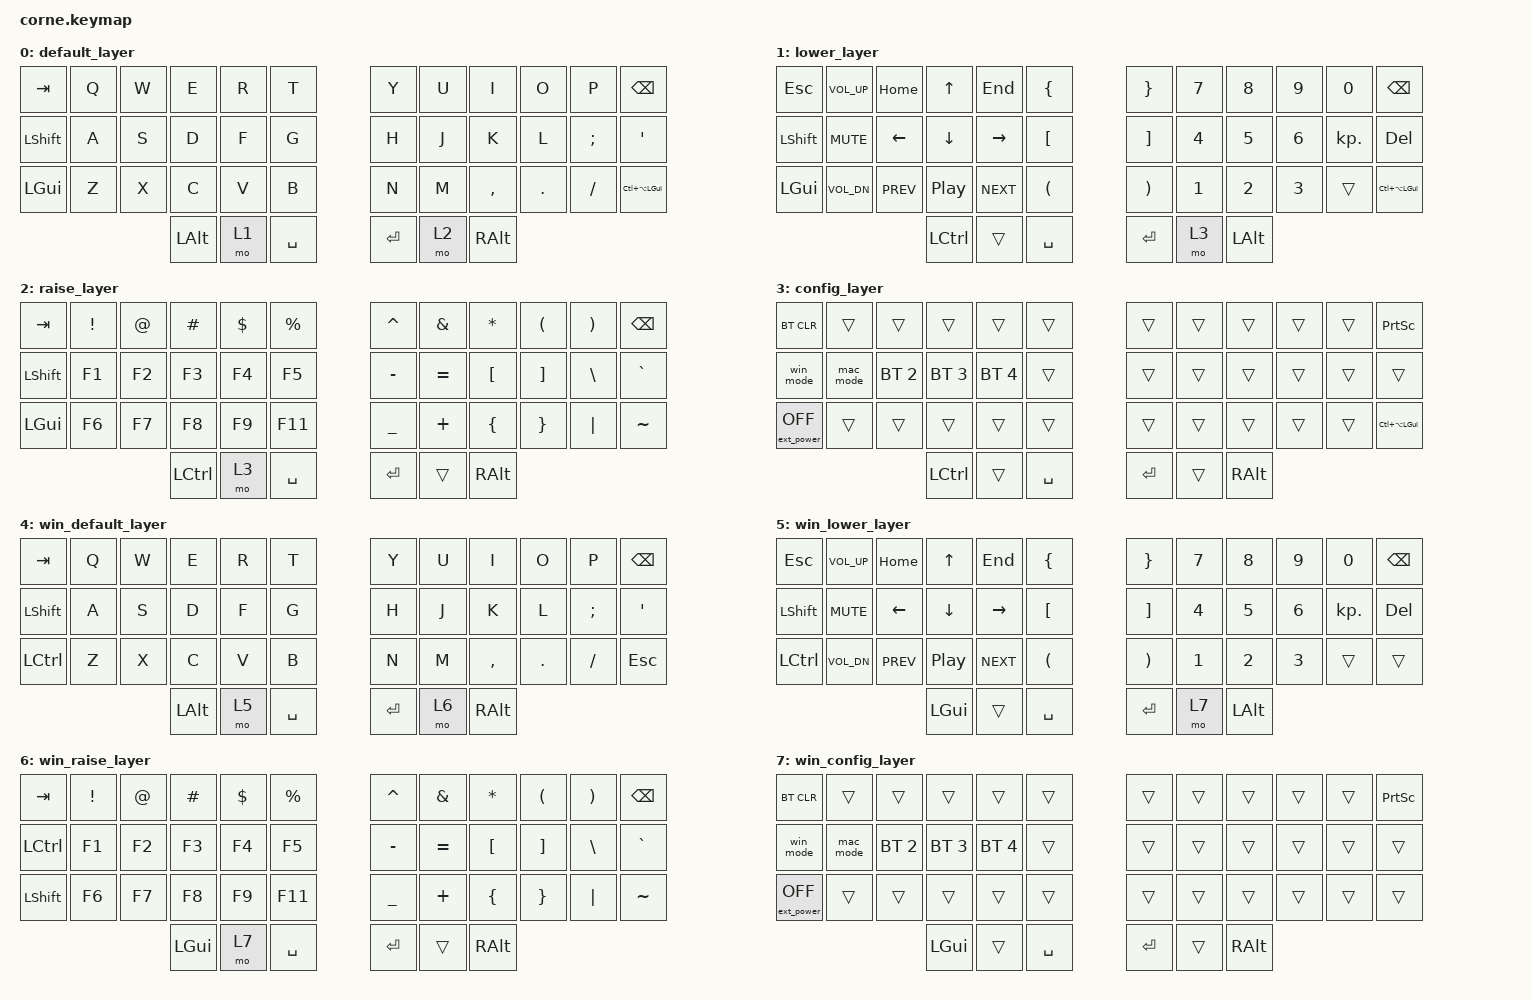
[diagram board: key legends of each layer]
/*
 * Copyright (c) 2020 The ZMK Contributors
 *
 * SPDX-License-Identifier: MIT
 */

#include <behaviors.dtsi>
#include <dt-bindings/zmk/keys.h>
#include <dt-bindings/zmk/bt.h>
#include <dt-bindings/zmk/ext_power.h>
#include <dt-bindings/zmk/outputs.h>

/ {
        behaviors {
        };

        macros {
                win_mode: win_mode {
                        compatible = "zmk,behavior-macro";
                        #binding-cells = <0>;
                        wait-ms = <10>;
                        tap-ms = <10>;
                        bindings = <&bt BT_SEL 0>, <&macro_wait_time 50>, <&to 4>;
                };
                
                mac_mode: mac_mode {
                        compatible = "zmk,behavior-macro";
                        #binding-cells = <0>;
                        wait-ms = <10>;
                        tap-ms = <10>;
                        bindings = <&bt BT_SEL 1>, <&macro_wait_time 50>, <&to 0>;
                };
        };

        keymap {
                compatible = "zmk,keymap";

                default_layer {

                        bindings = <
                                // |-------------+-------------+-------------+-------------+-------------+-----------|      |-------------+-------------+-------------+-------------+-------------+-----------|
                                        &kp TAB      &kp Q         &kp W        &kp E           &kp R        &kp T               &kp Y        &kp U         &kp I         &kp O         &kp P        &kp BSPC
                                // |-------------+-------------+-------------+-------------+-------------+-----------|      |-------------+-------------+-------------+-------------+-------------+-----------|
                                       &kp LSHFT     &kp A         &kp S        &kp D           &kp F        &kp G               &kp H        &kp J         &kp K         &kp L         &kp SEMI     &kp SQT
                                // |-------------+-------------+-------------+-------------+-------------+-----------|      |-------------+-------------+-------------+-------------+-------------+-----------|
                                       &kp LGUI      &kp Z         &kp X        &kp C           &kp V        &kp B               &kp N        &kp M         &kp COMMA     &kp DOT       &kp FSLH     &kp LC(LA(LGUI))
                                // |-------------+-------------+-------------+-------------+-------------+-----------|      |-------------+-------------+-------------+-------------+-------------+-----------|
                                                                                 &kp LALT       &mo 1      &kp SPACE            &kp RET       &mo 2       &kp RALT
                                                                          // |-------------+-------------+-----------|      |-------------+-------------+-----------|
                        >;
                };
                lower_layer {

                        bindings = <
                                // |-------------+-------------+-------------+-------------+-------------+-----------|      |-------------+-------------+-------------+-------------+-------------+-----------|
                                       &kp ESC    &kp C_VOL_UP     &kp HOME      &kp UP        &kp END       &kp LBRC           &kp RBRC       &kp N7        &kp N8        &kp N9       &kp N0      &kp BSPC
                                // |-------------+-------------+-------------+-------------+-------------+-----------|      |-------------+-------------+-------------+-------------+-------------+-----------|
                                       &kp LSHFT   &kp C_MUTE      &kp LEFT     &kp DOWN      &kp RIGHT     &kp LBKT            &kp RBKT       &kp N4        &kp N5        &kp N6      &kp KP_DOT    &kp DEL
                                // |-------------+-------------+-------------+-------------+-------------+-----------|      |-------------+-------------+-------------+-------------+-------------+-----------|
                                       &kp LGUI   &kp C_VOL_DN   &kp C_PREV    &kp C_PP     &kp C_NEXT    &kp LPAR             &kp RPAR       &kp N1        &kp N2        &kp N3      &trans        &kp LC(LA(LGUI))
                                // |-------------+-------------+-------------+-------------+-------------+-----------|      |-------------+-------------+-------------+-------------+-------------+-----------|
                                                                                  &kp LCTRL      &trans      &kp SPACE           &kp RET        &mo 3       &kp LALT
                                                                          // |-------------+-------------+-----------|      |-------------+-------------+-----------|
                        >;
                };

                raise_layer {

                        bindings = <
                                // |-------------+-------------+-------------+-------------+-------------+-----------|      |-------------+-------------+-------------+-------------+-------------+-----------|
                                       &kp  TAB      &kp EXCL     &kp AT       &kp HASH      &kp DLLR      &kp PRCNT           &kp CARET     &kp AMPS     &kp ASTRK     &kp LPAR      &kp RPAR      &kp BSPC
                                // |-------------+-------------+-------------+-------------+-------------+-----------|      |-------------+-------------+-------------+-------------+-------------+-----------|
                                       &kp LSHFT     &kp F1       &kp F2       &kp F3        &kp F4        &kp F5             &kp MINUS     &kp EQUAL     &kp LBKT     &kp RBKT      &kp BSLH      &kp GRAVE
                                // |-------------+-------------+-------------+-------------+-------------+-----------|      |-------------+-------------+-------------+-------------+-------------+-----------|
                                       &kp LGUI      &kp F6       &kp F7       &kp F8        &kp F9        &kp F11            &kp UNDER     &kp PLUS      &kp LBRC     &kp RBRC      &kp PIPE      &kp TILDE
                                // |-------------+-------------+-------------+-------------+-------------+-----------|      |-------------+-------------+-------------+-------------+-------------+-----------|
                                                                                 &kp LCTRL      &mo 3       &kp SPACE           &kp RET        &trans      &kp RALT
                                                                          // |-------------+-------------+-----------|      |-------------+-------------+-----------|
                        >;
                };

                config_layer {

                         bindings = <
                                // |-------------+-------------+-------------+-------------+-------------+-----------|      |-------------+-------------+-------------+-------------+-------------+-----------|
                                     &bt BT_CLR      &trans       &trans         &trans       &trans        &trans              &trans       &trans         &trans       &trans         &trans       &kp PSCRN
                                // |-------------+-------------+-------------+-------------+-------------+-----------|      |-------------+-------------+-------------+-------------+-------------+-----------|
                                    &win_mode     &mac_mode     &bt BT_SEL 2  &bt BT_SEL 3  &bt BT_SEL 4    &trans              &trans       &trans         &trans       &trans         &trans       &trans
                                // |-------------+-------------+-------------+-------------+-------------+-----------|      |-------------+-------------+-------------+-------------+-------------+-----------|
                                   &ext_power EP_OFF  &trans       &trans         &trans       &trans        &trans             &trans       &trans         &trans       &trans         &trans       &kp LC(LA(LGUI))
                                // |-------------+-------------+-------------+-------------+-------------+-----------|      |-------------+-------------+-------------+-------------+-------------+-----------|
                                                                                &kp LCTRL      &trans        &kp SPACE           &kp RET      &trans        &kp RALT
                                                                          // |-------------+-------------+-----------|      |-------------+-------------+-----------|
                        >;
                };

                // WINDOWS LAYERS (4-7)
                win_default_layer {

                        bindings = <
                                // |-------------+-------------+-------------+-------------+-------------+-----------|      |-------------+-------------+-------------+-------------+-------------+-----------|
                                        &kp TAB      &kp Q         &kp W        &kp E           &kp R        &kp T               &kp Y        &kp U         &kp I         &kp O         &kp P        &kp BSPC
                                // |-------------+-------------+-------------+-------------+-------------+-----------|      |-------------+-------------+-------------+-------------+-------------+-----------|
                                       &kp LSHFT     &kp A         &kp S        &kp D           &kp F        &kp G               &kp H        &kp J         &kp K         &kp L         &kp SEMI     &kp SQT
                                // |-------------+-------------+-------------+-------------+-------------+-----------|      |-------------+-------------+-------------+-------------+-------------+-----------|
                                       &kp LCTRL     &kp Z         &kp X        &kp C           &kp V        &kp B               &kp N        &kp M         &kp COMMA     &kp DOT       &kp FSLH     &kp ESC
                                // |-------------+-------------+-------------+-------------+-------------+-----------|      |-------------+-------------+-------------+-------------+-------------+-----------|
                                                                                 &kp LALT       &mo 5      &kp SPACE            &kp RET       &mo 6       &kp RALT
                                                                          // |-------------+-------------+-----------|      |-------------+-------------+-----------|
                        >;
                };

                win_lower_layer {

                        bindings = <
                                // |-------------+-------------+-------------+-------------+-------------+-----------|      |-------------+-------------+-------------+-------------+-------------+-----------|
                                       &kp ESC    &kp C_VOL_UP     &kp HOME      &kp UP        &kp END       &kp LBRC           &kp RBRC       &kp N7        &kp N8        &kp N9       &kp N0      &kp BSPC
                                // |-------------+-------------+-------------+-------------+-------------+-----------|      |-------------+-------------+-------------+-------------+-------------+-----------|
                                       &kp LSHFT   &kp C_MUTE      &kp LEFT     &kp DOWN      &kp RIGHT     &kp LBKT            &kp RBKT       &kp N4        &kp N5        &kp N6      &kp KP_DOT    &kp DEL
                                // |-------------+-------------+-------------+-------------+-------------+-----------|      |-------------+-------------+-------------+-------------+-------------+-----------|
                                       &kp LCTRL   &kp C_VOL_DN   &kp C_PREV    &kp C_PP     &kp C_NEXT    &kp LPAR             &kp RPAR       &kp N1        &kp N2        &kp N3      &trans        &trans
                                // |-------------+-------------+-------------+-------------+-------------+-----------|      |-------------+-------------+-------------+-------------+-------------+-----------|
                                                                                  &kp LGUI      &trans      &kp SPACE           &kp RET        &mo 7       &kp LALT
                                                                          // |-------------+-------------+-----------|      |-------------+-------------+-----------|
                        >;
                };

                win_raise_layer {

                        bindings = <
                                // |-------------+-------------+-------------+-------------+-------------+-----------|      |-------------+-------------+-------------+-------------+-------------+-----------|
                                       &kp  TAB      &kp EXCL     &kp AT       &kp HASH      &kp DLLR      &kp PRCNT           &kp CARET     &kp AMPS     &kp ASTRK     &kp LPAR      &kp RPAR      &kp BSPC
                                // |-------------+-------------+-------------+-------------+-------------+-----------|      |-------------+-------------+-------------+-------------+-------------+-----------|
                                       &kp LCTRL      &kp F1       &kp F2       &kp F3        &kp F4        &kp F5             &kp MINUS     &kp EQUAL     &kp LBKT     &kp RBKT      &kp BSLH      &kp GRAVE
                                // |-------------+-------------+-------------+-------------+-------------+-----------|      |-------------+-------------+-------------+-------------+-------------+-----------|
                                       &kp LSHFT      &kp F6       &kp F7       &kp F8        &kp F9        &kp F11            &kp UNDER     &kp PLUS      &kp LBRC     &kp RBRC      &kp PIPE      &kp TILDE
                                // |-------------+-------------+-------------+-------------+-------------+-----------|      |-------------+-------------+-------------+-------------+-------------+-----------|
                                                                                 &kp LGUI      &mo 7       &kp SPACE           &kp RET        &trans      &kp RALT
                                                                          // |-------------+-------------+-----------|      |-------------+-------------+-----------|
                        >;
                };

                win_config_layer {

                         bindings = <
                                // |-------------+-------------+-------------+-------------+-------------+-----------|      |-------------+-------------+-------------+-------------+-------------+-----------|
                                     &bt BT_CLR      &trans       &trans         &trans       &trans        &trans              &trans       &trans         &trans       &trans         &trans       &kp PSCRN
                                // |-------------+-------------+-------------+-------------+-------------+-----------|      |-------------+-------------+-------------+-------------+-------------+-----------|
                                    &win_mode     &mac_mode     &bt BT_SEL 2  &bt BT_SEL 3  &bt BT_SEL 4    &trans              &trans       &trans         &trans       &trans         &trans       &trans
                                // |-------------+-------------+-------------+-------------+-------------+-----------|      |-------------+-------------+-------------+-------------+-------------+-----------|
                                   &ext_power EP_OFF  &trans       &trans         &trans       &trans        &trans             &trans       &trans         &trans       &trans         &trans       &trans
                                // |-------------+-------------+-------------+-------------+-------------+-----------|      |-------------+-------------+-------------+-------------+-------------+-----------|
                                                                                &kp LGUI      &trans        &kp SPACE           &kp RET      &trans        &kp RALT
                                                                          // |-------------+-------------+-----------|      |-------------+-------------+-----------|
                        >;
                };
        };
};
